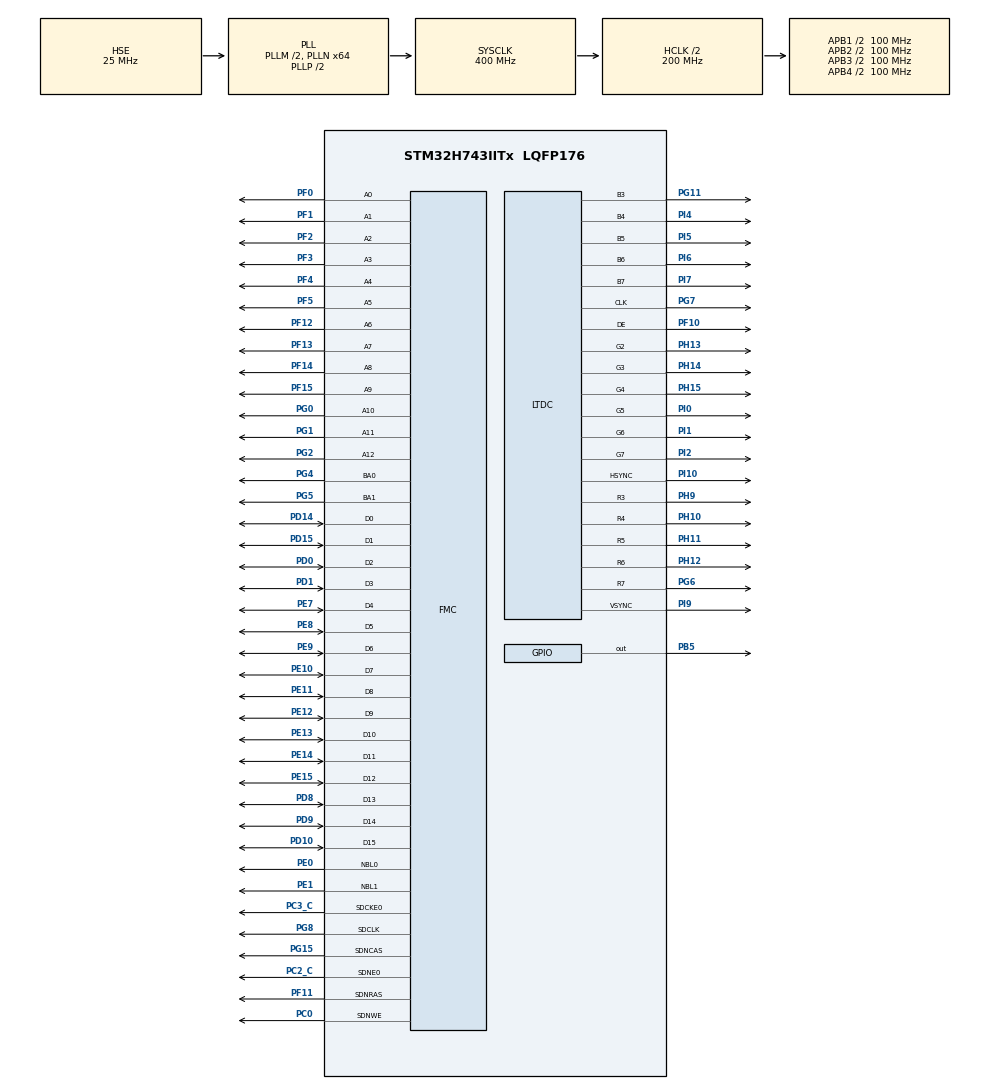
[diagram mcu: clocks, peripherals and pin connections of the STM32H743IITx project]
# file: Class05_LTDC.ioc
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DMA2D.ColorMode=DMA2D_OUTPUT_RGB565
FMC.CASLatency1=FMC_SDRAM_CAS_LATENCY_2
FMC.ColumnBitsNumber1=FMC_SDRAM_COLUMN_BITS_NUM_9
FMC.ExitSelfRefreshDelay1=8
FMC.LoadToActiveDelay1=2
FMC.RCDDelay1=3
FMC.RPDelay1=2
FMC.ReadBurst1=FMC_SDRAM_RBURST_ENABLE
FMC.ReadPipeDelay1=FMC_SDRAM_RPIPE_DELAY_0
FMC.RowCycleDelay1=6
FMC.SDClockPeriod1=FMC_SDRAM_CLOCK_PERIOD_2
FMC.SelfRefreshTime1=6
FMC.WriteRecoveryTime1=3
LTDC.ActiveH=600
LTDC.ActiveW=1024
LTDC.Alpha0_L0=0
LTDC.Alpha_L0=255
LTDC.Alpha_L1=255
LTDC.BlendingFactor1_L0=LTDC_BLENDING_FACTOR1_PAxCA
LTDC.BlendingFactor1_L1=LTDC_BLENDING_FACTOR1_PAxCA
LTDC.BlendingFactor2_L0=LTDC_BLENDING_FACTOR2_PAxCA
LTDC.BlendingFactor2_L1=LTDC_BLENDING_FACTOR2_PAxCA
LTDC.Blue_L0=255
LTDC.FBStartAdress_L0=0xc0000000
LTDC.FBStartAdress_L1=0xc1000000
LTDC.HBP=140
LTDC.HFP=160
LTDC.HSync=20
LTDC.ImageHeight_L0=600
LTDC.ImageHeight_L1=300
LTDC.ImageWidth_L0=1024
LTDC.ImageWidth_L1=512
LTDC.Layers=1
LTDC.PCPolarity=LTDC_PCPOLARITY_IPC
LTDC.PixelFormat_L0=LTDC_PIXEL_FORMAT_RGB565
LTDC.Red_L1=255
LTDC.VBP=20
LTDC.VFP=22
LTDC.VSync=3
LTDC.WindowX0_L1=256
LTDC.WindowX1_L0=1024
LTDC.WindowX1_L1=768
LTDC.WindowY0_L1=150
LTDC.WindowY1_L0=600
LTDC.WindowY1_L1=450
Mcu.Family=STM32H7
Mcu.Name=STM32H743IITx
Mcu.Package=LQFP176
NVIC.DMA2D_IRQn=true\:0\:0\:false\:true\:true\:1\:true
NVIC.PriorityGroup=NVIC_PRIORITYGROUP_4
PB5.Signal=GPIO_Output
PC0.Signal=FMC_SDNWE
PC2_C.Mode=SdramChipSelect1_1
PC2_C.Signal=FMC_SDNE0
PC3_C.Mode=SdramChipSelect1_1
PC3_C.Signal=FMC_SDCKE0
PD0.Signal=FMC_D2_DA2
PD1.Signal=FMC_D3_DA3
PD10.Signal=FMC_D15_DA15
PD14.Signal=FMC_D0_DA0
PD15.Signal=FMC_D1_DA1
PD8.Signal=FMC_D13_DA13
PD9.Signal=FMC_D14_DA14
PE0.Signal=FMC_NBL0
PE1.Signal=FMC_NBL1
PE10.Signal=FMC_D7_DA7
PE11.Signal=FMC_D8_DA8
PE12.Signal=FMC_D9_DA9
PE13.Signal=FMC_D10_DA10
PE14.Signal=FMC_D11_DA11
PE15.Signal=FMC_D12_DA12
PE7.Signal=FMC_D4_DA4
PE8.Signal=FMC_D5_DA5
PE9.Signal=FMC_D6_DA6
PF0.Signal=FMC_A0
PF1.Signal=FMC_A1
PF10.GPIO_Speed=GPIO_SPEED_FREQ_VERY_HIGH
PF10.Mode=RGB565
PF10.Signal=LTDC_DE
PF11.Signal=FMC_SDNRAS
PF12.Signal=FMC_A6
PF13.Signal=FMC_A7
PF14.Signal=FMC_A8
PF15.Signal=FMC_A9
PF2.Signal=FMC_A2
PF3.Signal=FMC_A3
PF4.Signal=FMC_A4
PF5.Signal=FMC_A5
PG0.Signal=FMC_A10
PG1.Signal=FMC_A11
PG11.GPIO_Speed=GPIO_SPEED_FREQ_VERY_HIGH
PG11.Mode=RGB565
PG11.Signal=LTDC_B3
PG15.Signal=FMC_SDNCAS
PG2.Signal=FMC_A12
PG4.Signal=FMC_A14_BA0
PG5.Signal=FMC_A15_BA1
PG6.GPIO_Speed=GPIO_SPEED_FREQ_VERY_HIGH
PG6.Mode=RGB565
PG6.Signal=LTDC_R7
PG7.GPIO_Speed=GPIO_SPEED_FREQ_VERY_HIGH
PG7.Mode=RGB565
PG7.Signal=LTDC_CLK
PG8.Signal=FMC_SDCLK
PH0-OSC_IN.Mode=HSE-External-Oscillator
PH0-OSC_IN.Signal=RCC_OSC_IN
PH1-OSC_OUT.Mode=HSE-External-Oscillator
PH1-OSC_OUT.Signal=RCC_OSC_OUT
PH10.GPIO_Speed=GPIO_SPEED_FREQ_VERY_HIGH
PH10.Mode=RGB565
PH10.Signal=LTDC_R4
PH11.GPIO_Speed=GPIO_SPEED_FREQ_VERY_HIGH
PH11.Mode=RGB565
PH11.Signal=LTDC_R5
PH12.GPIO_Speed=GPIO_SPEED_FREQ_VERY_HIGH
PH12.Mode=RGB565
PH12.Signal=LTDC_R6
PH13.GPIO_Speed=GPIO_SPEED_FREQ_VERY_HIGH
PH13.Mode=RGB565
PH13.Signal=LTDC_G2
PH14.GPIO_Speed=GPIO_SPEED_FREQ_VERY_HIGH
PH14.Mode=RGB565
PH14.Signal=LTDC_G3
PH15.GPIO_Speed=GPIO_SPEED_FREQ_VERY_HIGH
PH15.Mode=RGB565
PH15.Signal=LTDC_G4
PH9.GPIO_Speed=GPIO_SPEED_FREQ_VERY_HIGH
PH9.Mode=RGB565
PH9.Signal=LTDC_R3
PI0.GPIO_Speed=GPIO_SPEED_FREQ_VERY_HIGH
PI0.Mode=RGB565
PI0.Signal=LTDC_G5
PI1.GPIO_Speed=GPIO_SPEED_FREQ_VERY_HIGH
PI1.Mode=RGB565
PI1.Signal=LTDC_G6
PI10.GPIO_Speed=GPIO_SPEED_FREQ_VERY_HIGH
PI10.Mode=RGB565
PI10.Signal=LTDC_HSYNC
PI2.GPIO_Speed=GPIO_SPEED_FREQ_VERY_HIGH
PI2.Mode=RGB565
PI2.Signal=LTDC_G7
PI4.GPIO_Speed=GPIO_SPEED_FREQ_VERY_HIGH
PI4.Mode=RGB565
PI4.Signal=LTDC_B4
PI5.GPIO_Speed=GPIO_SPEED_FREQ_VERY_HIGH
PI5.Mode=RGB565
PI5.Signal=LTDC_B5
PI6.GPIO_Speed=GPIO_SPEED_FREQ_VERY_HIGH
PI6.Mode=RGB565
PI6.Signal=LTDC_B6
PI7.GPIO_Speed=GPIO_SPEED_FREQ_VERY_HIGH
PI7.Mode=RGB565
PI7.Signal=LTDC_B7
PI9.GPIO_Speed=GPIO_SPEED_FREQ_VERY_HIGH
PI9.Mode=RGB565
PI9.Signal=LTDC_VSYNC
ProjectManager.HeapSize=0x200
ProjectManager.StackSize=0x400
ProjectManager.TargetToolchain=MDK-ARM V5
RCC.ADCFreq_Value=75000000
RCC.APB1Freq_Value=100000000
RCC.APB2Freq_Value=100000000
RCC.APB3Freq_Value=100000000
RCC.APB4Freq_Value=100000000
RCC.CortexFreq_Value=400000000
RCC.D1PPRE=RCC_APB3_DIV2
RCC.D2PPRE1=RCC_APB1_DIV2
RCC.D2PPRE2=RCC_APB2_DIV2
RCC.D3PPRE=RCC_APB4_DIV2
RCC.DIVM1=2
RCC.DIVM2=2
RCC.DIVM3=1
RCC.DIVN1=64
RCC.DIVN2=12
RCC.DIVN3=9
RCC.DIVR2=1
RCC.DIVR3=5
RCC.HCLKFreq_Value=200000000
RCC.HPRE=RCC_HCLK_DIV2
RCC.PLLSourceVirtual=RCC_PLLSOURCE_HSE
RCC.SYSCLKFreq_VALUE=400000000
RCC.SYSCLKSource=RCC_SYSCLKSOURCE_PLLCLK
RCC.USBFreq_Value=400000000
SH.FMC_A0.0=FMC_A0,13b-sda1
SH.FMC_A1.0=FMC_A1,13b-sda1
SH.FMC_A10.0=FMC_A10,13b-sda1
SH.FMC_A11.0=FMC_A11,13b-sda1
SH.FMC_A12.0=FMC_A12,13b-sda1
SH.FMC_A14_BA0.0=FMC_BA0,FourSdramBanks1
SH.FMC_A15_BA1.0=FMC_BA1,FourSdramBanks1
SH.FMC_A2.0=FMC_A2,13b-sda1
SH.FMC_A3.0=FMC_A3,13b-sda1
SH.FMC_A4.0=FMC_A4,13b-sda1
SH.FMC_A5.0=FMC_A5,13b-sda1
SH.FMC_A6.0=FMC_A6,13b-sda1
SH.FMC_A7.0=FMC_A7,13b-sda1
SH.FMC_A8.0=FMC_A8,13b-sda1
SH.FMC_A9.0=FMC_A9,13b-sda1
SH.FMC_D0_DA0.0=FMC_D0,sd-16b-d1
SH.FMC_D10_DA10.0=FMC_D10,sd-16b-d1
SH.FMC_D11_DA11.0=FMC_D11,sd-16b-d1
SH.FMC_D12_DA12.0=FMC_D12,sd-16b-d1
SH.FMC_D13_DA13.0=FMC_D13,sd-16b-d1
SH.FMC_D14_DA14.0=FMC_D14,sd-16b-d1
SH.FMC_D15_DA15.0=FMC_D15,sd-16b-d1
SH.FMC_D1_DA1.0=FMC_D1,sd-16b-d1
SH.FMC_D2_DA2.0=FMC_D2,sd-16b-d1
SH.FMC_D3_DA3.0=FMC_D3,sd-16b-d1
SH.FMC_D4_DA4.0=FMC_D4,sd-16b-d1
SH.FMC_D5_DA5.0=FMC_D5,sd-16b-d1
SH.FMC_D6_DA6.0=FMC_D6,sd-16b-d1
SH.FMC_D7_DA7.0=FMC_D7,sd-16b-d1
SH.FMC_D8_DA8.0=FMC_D8,sd-16b-d1
SH.FMC_D9_DA9.0=FMC_D9,sd-16b-d1
SH.FMC_NBL0.0=FMC_NBL0,Sd2ByteEnable1
SH.FMC_NBL1.0=FMC_NBL1,Sd2ByteEnable1
SH.FMC_SDCLK.0=FMC_SDCLK,13b-sda1
SH.FMC_SDNCAS.0=FMC_SDNCAS,13b-sda1
SH.FMC_SDNRAS.0=FMC_SDNRAS,13b-sda1
SH.FMC_SDNWE.0=FMC_SDNWE,13b-sda1
VP_DMA2D_VS_DMA2D.Mode=DMA2D_Activate
board=custom

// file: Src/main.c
/**
  ******************************************************************************
  * @file           : main.c
  * @brief          : Main program body
  ******************************************************************************
  ** This notice applies to any and all portions of this file
  * that are not between comment pairs USER CODE BEGIN and
  * USER CODE END. Other portions of this file, whether
  * inserted by the user or by software development tools
  * are owned by their respective copyright owners.
  *
  * COPYRIGHT(c) 2018 STMicroelectronics
  *
  * Redistribution and use in source and binary forms, with or without modification,
  * are permitted provided that the following conditions are met:
  *   1. Redistributions of source code must retain the above copyright notice,
  *      this list of conditions and the following disclaimer.
  *   2. Redistributions in binary form must reproduce the above copyright notice,
  *      this list of conditions and the following disclaimer in the documentation
  *      and/or other materials provided with the distribution.
  *   3. Neither the name of STMicroelectronics nor the names of its contributors
  *      may be used to endorse or promote products derived from this software
  *      without specific prior written permission.
  *
  * THIS SOFTWARE IS PROVIDED BY THE COPYRIGHT HOLDERS AND CONTRIBUTORS "AS IS"
  * AND ANY EXPRESS OR IMPLIED WARRANTIES, INCLUDING, BUT NOT LIMITED TO, THE
  * IMPLIED WARRANTIES OF MERCHANTABILITY AND FITNESS FOR A PARTICULAR PURPOSE ARE
  * DISCLAIMED. IN NO EVENT SHALL THE COPYRIGHT HOLDER OR CONTRIBUTORS BE LIABLE
  * FOR ANY DIRECT, INDIRECT, INCIDENTAL, SPECIAL, EXEMPLARY, OR CONSEQUENTIAL
  * DAMAGES (INCLUDING, BUT NOT LIMITED TO, PROCUREMENT OF SUBSTITUTE GOODS OR
  * SERVICES; LOSS OF USE, DATA, OR PROFITS; OR BUSINESS INTERRUPTION) HOWEVER
  * CAUSED AND ON ANY THEORY OF LIABILITY, WHETHER IN CONTRACT, STRICT LIABILITY,
  * OR TORT (INCLUDING NEGLIGENCE OR OTHERWISE) ARISING IN ANY WAY OUT OF THE USE
  * OF THIS SOFTWARE, EVEN IF ADVISED OF THE POSSIBILITY OF SUCH DAMAGE.
  *
  ******************************************************************************
  */
#include "main.h"
#include "stm32h7xx_hal.h"

/* USER CODE BEGIN Includes */
#define Bank5_SDRAM_ADDR    ((unsigned int)(0XC0000000))
#define SDRAM_MODEREG_BURST_LENGTH_1             ((unsigned int)0x0000)
#define SDRAM_MODEREG_BURST_LENGTH_2             ((unsigned int)0x0001)
#define SDRAM_MODEREG_BURST_LENGTH_4             ((unsigned int)0x0002)
#define SDRAM_MODEREG_BURST_LENGTH_8             ((unsigned int)0x0004)
#define SDRAM_MODEREG_BURST_TYPE_SEQUENTIAL      ((unsigned int)0x0000)
#define SDRAM_MODEREG_BURST_TYPE_INTERLEAVED     ((unsigned int)0x0008)
#define SDRAM_MODEREG_CAS_LATENCY_2              ((unsigned int)0x0020)
#define SDRAM_MODEREG_CAS_LATENCY_3              ((unsigned int)0x0030)
#define SDRAM_MODEREG_OPERATING_MODE_STANDARD    ((unsigned int)0x0000)
#define SDRAM_MODEREG_WRITEBURST_MODE_PROGRAMMED ((unsigned int)0x0000)
#define SDRAM_MODEREG_WRITEBURST_MODE_SINGLE     ((unsigned int)0x0200)
/* USER CODE END Includes */

DMA2D_HandleTypeDef hdma2d;

LTDC_HandleTypeDef hltdc;

SDRAM_HandleTypeDef hsdram1;

/* USER CODE BEGIN PV */
/* Private variables ---------------------------------------------------------*/

/* USER CODE END PV */

void SystemClock_Config(void);
static void MX_GPIO_Init(void);
static void MX_FMC_Init(void);
static void MX_LTDC_Init(void);
static void MX_DMA2D_Init(void);
static void MX_NVIC_Init(void);

/* USER CODE BEGIN PFP */
/* Private function prototypes -----------------------------------------------*/

/* USER CODE END PFP */

/* USER CODE BEGIN 0 */
unsigned char data[1024*10];
unsigned int i = (1024*600/8);
unsigned long long j = 0;
unsigned char SDRAM_Send_Cmd(unsigned char bankx,unsigned char cmd,unsigned char refresh,unsigned int regval)
{
    unsigned int target_bank=0;
    FMC_SDRAM_CommandTypeDef Command;
    if(bankx==0) target_bank=FMC_SDRAM_CMD_TARGET_BANK1;
    else if(bankx==1) target_bank=FMC_SDRAM_CMD_TARGET_BANK2;
    Command.CommandMode=cmd;
    Command.CommandTarget=target_bank;
    Command.AutoRefreshNumber=refresh;
    Command.ModeRegisterDefinition=regval;
    if(HAL_SDRAM_SendCommand(&hsdram1,&Command,0XFFFF)==HAL_OK)
    {
        return 0;
    }
    else return 1;
}
void FMC_SDRAM_WriteBuffer(unsigned char *pBuffer,unsigned int WriteAddr,unsigned int n)
{
	for(;n!=0;n--)
	{
		*(unsigned char*)(Bank5_SDRAM_ADDR+WriteAddr)=*pBuffer;
		WriteAddr++;
		pBuffer++;
	}
}
void FMC_SDRAM_ReadBuffer(unsigned char *pBuffer,unsigned int ReadAddr,unsigned int n)
{
	for(;n!=0;n--)
	{
		*pBuffer++=*(unsigned char*)(Bank5_SDRAM_ADDR+ReadAddr);
		ReadAddr++;
	}
}
void SDRAM_Initialization_Sequence()
{
	unsigned int temp=0;
  SDRAM_Send_Cmd(0,FMC_SDRAM_CMD_CLK_ENABLE,1,0);
  HAL_Delay(1);
	SDRAM_Send_Cmd(0,FMC_SDRAM_CMD_PALL,1,0);
  SDRAM_Send_Cmd(0,FMC_SDRAM_CMD_AUTOREFRESH_MODE,8,0);
	temp=(unsigned int)SDRAM_MODEREG_BURST_LENGTH_1          |
              SDRAM_MODEREG_BURST_TYPE_SEQUENTIAL   |
              SDRAM_MODEREG_CAS_LATENCY_2           |
              SDRAM_MODEREG_OPERATING_MODE_STANDARD |
              SDRAM_MODEREG_WRITEBURST_MODE_SINGLE;
    SDRAM_Send_Cmd(0,FMC_SDRAM_CMD_LOAD_MODE,1,temp);

	HAL_SDRAM_ProgramRefreshRate(&hsdram1,677);
}

void callback(struct __DMA2D_HandleTypeDef * hdma2d)
{
	j = 40000000/2-1;
	while(j--);
	i++;
	if(i == 6)
		i=1;

	HAL_DMA2D_Start_IT(hdma2d,Bank5_SDRAM_ADDR + 0x0012c000*i,Bank5_SDRAM_ADDR,1024,600);
}

/* USER CODE END 0 */

int main(void)
{

  /* MCU Configuration----------------------------------------------------------*/

  /* Reset of all peripherals, Initializes the Flash interface and the Systick. */
  HAL_Init();

  /* Configure the system clock */
  SystemClock_Config();

  /* Initialize all configured peripherals */
  MX_GPIO_Init();
  MX_FMC_Init();
  MX_LTDC_Init();
  MX_DMA2D_Init();

  /* Initialize interrupts */
  MX_NVIC_Init();
  /* USER CODE BEGIN 2 */
	HAL_GPIO_WritePin(GPIOB,GPIO_PIN_5,1);
	SDRAM_Initialization_Sequence();
	hdma2d.XferCpltCallback = callback;

	//Layer0 => RGB565
	i = (1024*600);
		while(i--)
			*(unsigned short*)(Bank5_SDRAM_ADDR + 0x0012c000*1 + 2*i) = 0xf800;
	i = (1024*600);
		while(i--)
			*(unsigned short*)(Bank5_SDRAM_ADDR + 0x0012c000*2 + 2*i) = 0x07e0;
	i = (1024*600);
		while(i--)
			*(unsigned short*)(Bank5_SDRAM_ADDR + 0x0012c000*3 + 2*i) = 0x001f;
	i = (1024*600);
		while(i--)
			*(unsigned short*)(Bank5_SDRAM_ADDR + 0x0012c000*4 + 2*i) = 0xf81f;
	i = (1024*600);
		while(i--)
			*(unsigned short*)(Bank5_SDRAM_ADDR + 0x0012c000*5 + 2*i) = 0x07ff;

	//Layer1 => ARGB
	i = (512*300);
	while(i--)
	{
		*(unsigned short*)(Bank5_SDRAM_ADDR + 0x01000000 + 4*i) = 0xffff;			//GB
		*(unsigned short*)(Bank5_SDRAM_ADDR + 0x01000000 + 4*i + 2) = 0xa0ff; //AR
	}
	i=0;
	HAL_DMA2D_Start_IT(&hdma2d,Bank5_SDRAM_ADDR + 0x0012c000*1,Bank5_SDRAM_ADDR,1024,600);
  /* USER CODE END 2 */

  /* Infinite loop */
  while (1)
  {

  }

}

void SystemClock_Config(void)
{

  RCC_OscInitTypeDef RCC_OscInitStruct;
  RCC_ClkInitTypeDef RCC_ClkInitStruct;
  RCC_PeriphCLKInitTypeDef PeriphClkInitStruct;

    /**Supply configuration update enable
    */
  MODIFY_REG(PWR->CR3, PWR_CR3_SCUEN, 0);

    /**Configure the main internal regulator output voltage
    */
  __HAL_PWR_VOLTAGESCALING_CONFIG(PWR_REGULATOR_VOLTAGE_SCALE1);

  while ((PWR->D3CR & (PWR_D3CR_VOSRDY)) != PWR_D3CR_VOSRDY)
  {

  }
    /**Macro to configure the PLL clock source
    */
  __HAL_RCC_PLL_PLLSOURCE_CONFIG(RCC_PLLSOURCE_HSE);

    /**Initializes the CPU, AHB and APB busses clocks
    */
  RCC_OscInitStruct.OscillatorType = RCC_OSCILLATORTYPE_HSE;
  RCC_OscInitStruct.HSEState = RCC_HSE_ON;
  RCC_OscInitStruct.PLL.PLLState = RCC_PLL_ON;
  RCC_OscInitStruct.PLL.PLLSource = RCC_PLLSOURCE_HSE;
  RCC_OscInitStruct.PLL.PLLM = 2;
  RCC_OscInitStruct.PLL.PLLN = 64;
  RCC_OscInitStruct.PLL.PLLP = 2;
  RCC_OscInitStruct.PLL.PLLQ = 2;
  RCC_OscInitStruct.PLL.PLLR = 2;
  RCC_OscInitStruct.PLL.PLLRGE = RCC_PLL1VCIRANGE_3;
  RCC_OscInitStruct.PLL.PLLVCOSEL = RCC_PLL1VCOWIDE;
  RCC_OscInitStruct.PLL.PLLFRACN = 0;
  if (HAL_RCC_OscConfig(&RCC_OscInitStruct) != HAL_OK)
  {
    _Error_Handler(__FILE__, __LINE__);
  }

    /**Initializes the CPU, AHB and APB busses clocks
    */
  RCC_ClkInitStruct.ClockType = RCC_CLOCKTYPE_HCLK|RCC_CLOCKTYPE_SYSCLK
                              |RCC_CLOCKTYPE_PCLK1|RCC_CLOCKTYPE_PCLK2
                              |RCC_CLOCKTYPE_D3PCLK1|RCC_CLOCKTYPE_D1PCLK1;
  RCC_ClkInitStruct.SYSCLKSource = RCC_SYSCLKSOURCE_PLLCLK;
  RCC_ClkInitStruct.SYSCLKDivider = RCC_SYSCLK_DIV1;
  RCC_ClkInitStruct.AHBCLKDivider = RCC_HCLK_DIV2;
  RCC_ClkInitStruct.APB3CLKDivider = RCC_APB3_DIV2;
  RCC_ClkInitStruct.APB1CLKDivider = RCC_APB1_DIV2;
  RCC_ClkInitStruct.APB2CLKDivider = RCC_APB2_DIV2;
  RCC_ClkInitStruct.APB4CLKDivider = RCC_APB4_DIV2;

  if (HAL_RCC_ClockConfig(&RCC_ClkInitStruct, FLASH_LATENCY_2) != HAL_OK)
  {
    _Error_Handler(__FILE__, __LINE__);
  }

  PeriphClkInitStruct.PeriphClockSelection = RCC_PERIPHCLK_LTDC|RCC_PERIPHCLK_FMC;
  PeriphClkInitStruct.PLL3.PLL3M = 1;
  PeriphClkInitStruct.PLL3.PLL3N = 9;
  PeriphClkInitStruct.PLL3.PLL3P = 2;
  PeriphClkInitStruct.PLL3.PLL3Q = 2;
  PeriphClkInitStruct.PLL3.PLL3R = 5;
  PeriphClkInitStruct.PLL3.PLL3RGE = RCC_PLL3VCIRANGE_3;
  PeriphClkInitStruct.PLL3.PLL3VCOSEL = RCC_PLL3VCOWIDE;
  PeriphClkInitStruct.PLL3.PLL3FRACN = 0;
  PeriphClkInitStruct.FmcClockSelection = RCC_FMCCLKSOURCE_D1HCLK;
  if (HAL_RCCEx_PeriphCLKConfig(&PeriphClkInitStruct) != HAL_OK)
  {
    _Error_Handler(__FILE__, __LINE__);
  }

    /**Configure the Systick interrupt time
    */
  HAL_SYSTICK_Config(SystemCoreClock/1000);

    /**Configure the Systick
    */
  HAL_SYSTICK_CLKSourceConfig(SYSTICK_CLKSOURCE_HCLK);

  /* SysTick_IRQn interrupt configuration */
  HAL_NVIC_SetPriority(SysTick_IRQn, 0, 0);
}

/**
  * @brief NVIC Configuration.
  * @retval None
  */
static void MX_NVIC_Init(void)
{
  /* DMA2D_IRQn interrupt configuration */
  HAL_NVIC_SetPriority(DMA2D_IRQn, 0, 0);
  HAL_NVIC_EnableIRQ(DMA2D_IRQn);
}

/* DMA2D init function */
static void MX_DMA2D_Init(void)
{

  hdma2d.Instance = DMA2D;
  hdma2d.Init.Mode = DMA2D_M2M;
  hdma2d.Init.ColorMode = DMA2D_OUTPUT_RGB565;
  hdma2d.Init.OutputOffset = 0;
  hdma2d.LayerCfg[1].InputOffset = 0;
  hdma2d.LayerCfg[1].InputColorMode = DMA2D_INPUT_RGB565;
  hdma2d.LayerCfg[1].AlphaMode = DMA2D_NO_MODIF_ALPHA;
  hdma2d.LayerCfg[1].InputAlpha = 0;
  hdma2d.LayerCfg[1].ChromaSubSampling = DMA2D_NO_CSS;
  if (HAL_DMA2D_Init(&hdma2d) != HAL_OK)
  {
    _Error_Handler(__FILE__, __LINE__);
  }

  if (HAL_DMA2D_ConfigLayer(&hdma2d, 1) != HAL_OK)
  {
    _Error_Handler(__FILE__, __LINE__);
  }

}

/* LTDC init function */
static void MX_LTDC_Init(void)
{

  LTDC_LayerCfgTypeDef pLayerCfg;
  LTDC_LayerCfgTypeDef pLayerCfg1;

  hltdc.Instance = LTDC;
  hltdc.Init.HSPolarity = LTDC_HSPOLARITY_AL;
  hltdc.Init.VSPolarity = LTDC_VSPOLARITY_AL;
  hltdc.Init.DEPolarity = LTDC_DEPOLARITY_AL;
  hltdc.Init.PCPolarity = LTDC_PCPOLARITY_IPC;
  hltdc.Init.HorizontalSync = 19;
  hltdc.Init.VerticalSync = 2;
  hltdc.Init.AccumulatedHBP = 159;
  hltdc.Init.AccumulatedVBP = 22;
  hltdc.Init.AccumulatedActiveW = 1183;
  hltdc.Init.AccumulatedActiveH = 622;
  hltdc.Init.TotalWidth = 1343;
  hltdc.Init.TotalHeigh = 644;
  hltdc.Init.Backcolor.Blue = 0;
  hltdc.Init.Backcolor.Green = 0;
  hltdc.Init.Backcolor.Red = 0;
  if (HAL_LTDC_Init(&hltdc) != HAL_OK)
  {
    _Error_Handler(__FILE__, __LINE__);
  }

  pLayerCfg.WindowX0 = 0;
  pLayerCfg.WindowX1 = 1024;
  pLayerCfg.WindowY0 = 0;
  pLayerCfg.WindowY1 = 600;
  pLayerCfg.PixelFormat = LTDC_PIXEL_FORMAT_RGB565;
  pLayerCfg.Alpha = 255;
  pLayerCfg.Alpha0 = 0;
  pLayerCfg.BlendingFactor1 = LTDC_BLENDING_FACTOR1_PAxCA;
  pLayerCfg.BlendingFactor2 = LTDC_BLENDING_FACTOR2_PAxCA;
  pLayerCfg.FBStartAdress = 0xc0000000;
  pLayerCfg.ImageWidth = 1024;
  pLayerCfg.ImageHeight = 600;
  pLayerCfg.Backcolor.Blue = 255;
  pLayerCfg.Backcolor.Green = 0;
  pLayerCfg.Backcolor.Red = 0;
  if (HAL_LTDC_ConfigLayer(&hltdc, &pLayerCfg, 0) != HAL_OK)
  {
    _Error_Handler(__FILE__, __LINE__);
  }

  pLayerCfg1.WindowX0 = 256;
  pLayerCfg1.WindowX1 = 768;
  pLayerCfg1.WindowY0 = 150;
  pLayerCfg1.WindowY1 = 450;
  pLayerCfg1.PixelFormat = LTDC_PIXEL_FORMAT_ARGB8888;
  pLayerCfg1.Alpha = 255;
  pLayerCfg1.Alpha0 = 0;
  pLayerCfg1.BlendingFactor1 = LTDC_BLENDING_FACTOR1_PAxCA;
  pLayerCfg1.BlendingFactor2 = LTDC_BLENDING_FACTOR2_PAxCA;
  pLayerCfg1.FBStartAdress = 0xc1000000;
  pLayerCfg1.ImageWidth = 512;
  pLayerCfg1.ImageHeight = 300;
  pLayerCfg1.Backcolor.Blue = 0;
  pLayerCfg1.Backcolor.Green = 0;
  pLayerCfg1.Backcolor.Red = 255;
  if (HAL_LTDC_ConfigLayer(&hltdc, &pLayerCfg1, 1) != HAL_OK)
  {
    _Error_Handler(__FILE__, __LINE__);
  }

}

/* FMC initialization function */
static void MX_FMC_Init(void)
{
  FMC_SDRAM_TimingTypeDef SdramTiming;

  /** Perform the SDRAM1 memory initialization sequence
  */
  hsdram1.Instance = FMC_SDRAM_DEVICE;
  /* hsdram1.Init */
  hsdram1.Init.SDBank = FMC_SDRAM_BANK1;
  hsdram1.Init.ColumnBitsNumber = FMC_SDRAM_COLUMN_BITS_NUM_9;
  hsdram1.Init.RowBitsNumber = FMC_SDRAM_ROW_BITS_NUM_13;
  hsdram1.Init.MemoryDataWidth = FMC_SDRAM_MEM_BUS_WIDTH_16;
  hsdram1.Init.InternalBankNumber = FMC_SDRAM_INTERN_BANKS_NUM_4;
  hsdram1.Init.CASLatency = FMC_SDRAM_CAS_LATENCY_2;
  hsdram1.Init.WriteProtection = FMC_SDRAM_WRITE_PROTECTION_DISABLE;
  hsdram1.Init.SDClockPeriod = FMC_SDRAM_CLOCK_PERIOD_2;
  hsdram1.Init.ReadBurst = FMC_SDRAM_RBURST_ENABLE;
  hsdram1.Init.ReadPipeDelay = FMC_SDRAM_RPIPE_DELAY_0;
  /* SdramTiming */
  SdramTiming.LoadToActiveDelay = 2;
  SdramTiming.ExitSelfRefreshDelay = 8;
  SdramTiming.SelfRefreshTime = 6;
  SdramTiming.RowCycleDelay = 6;
  SdramTiming.WriteRecoveryTime = 3;
  SdramTiming.RPDelay = 2;
  SdramTiming.RCDDelay = 3;

  if (HAL_SDRAM_Init(&hsdram1, &SdramTiming) != HAL_OK)
  {
    _Error_Handler(__FILE__, __LINE__);
  }

}

/** Configure pins as
        * Analog
        * Input
        * Output
        * EVENT_OUT
        * EXTI
*/
static void MX_GPIO_Init(void)
{

  GPIO_InitTypeDef GPIO_InitStruct;

  /* GPIO Ports Clock Enable */
  __HAL_RCC_GPIOI_CLK_ENABLE();
  __HAL_RCC_GPIOF_CLK_ENABLE();
  __HAL_RCC_GPIOH_CLK_ENABLE();
  __HAL_RCC_GPIOC_CLK_ENABLE();
  __HAL_RCC_GPIOG_CLK_ENABLE();
  __HAL_RCC_GPIOE_CLK_ENABLE();
  __HAL_RCC_GPIOD_CLK_ENABLE();
  __HAL_RCC_GPIOB_CLK_ENABLE();

  /*Configure GPIO pin Output Level */
  HAL_GPIO_WritePin(GPIOB, GPIO_PIN_5, GPIO_PIN_RESET);

  /*Configure GPIO pin : PB5 */
  GPIO_InitStruct.Pin = GPIO_PIN_5;
  GPIO_InitStruct.Mode = GPIO_MODE_OUTPUT_PP;
  GPIO_InitStruct.Pull = GPIO_NOPULL;
  GPIO_InitStruct.Speed = GPIO_SPEED_FREQ_LOW;
  HAL_GPIO_Init(GPIOB, &GPIO_InitStruct);

}

void _Error_Handler(char *file, int line)
{
  while(1)
  {
  }
}

/************************ (C) COPYRIGHT STMicroelectronics *****END OF FILE****/
